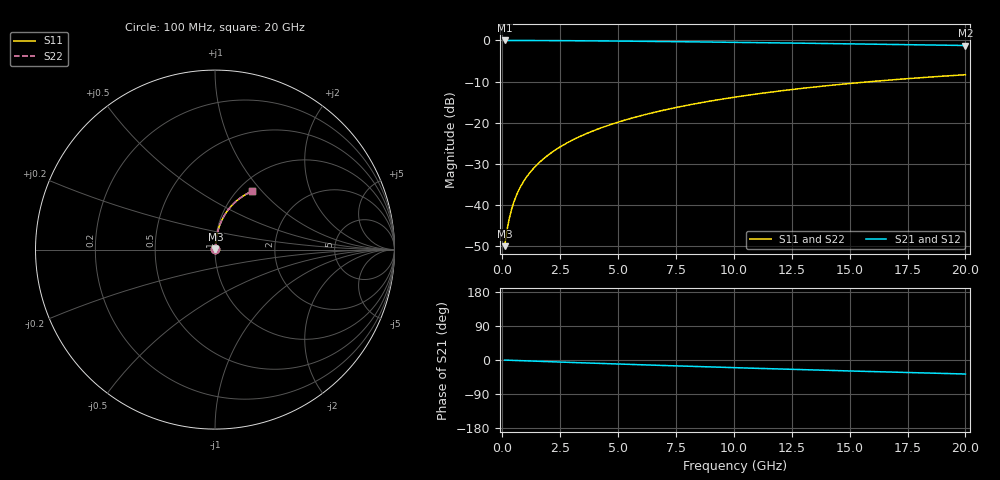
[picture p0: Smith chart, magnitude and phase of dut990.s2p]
! Touchstone file exported from HFSS 2024.1.0
!  File:  C:/UserFiles/LocalFiles/RDL_TSV_Batchsim/temp_RDL_bottom_990_1779943868.aedt
!  Generated:  12:53:33 PM May 28, 2026
!  Design:  RDL_bottom
!  Project:  temp_RDL_bottom_990_1779943868
!  Setup:  Setup1
!  Solution:  Sweep
! Variables:
!  dtsv = 10.80580581um
!  hbump = 3um
!  htsv = 54.17um
!  ldown = 512.06um
!  lrdl = 100um
!  p = 40
!  p1 = 47.71um
!  rhole = 1um
!  t = 450um
!  tdown = 4.96um
!  trdl = 3.915915916um
!  wdown = 16.3um
!  wrdl = 20um
# GHz S MA R 50.000000
! Terminal data exported
! Port[1] = RDL1_T1
! Port[2] = RDL1_T2
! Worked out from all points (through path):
!   200 points, 100 MHz to 20 GHz, reference 50 ohm
!   highest |S21| = -0.02 dB at 100 MHz (marker M1); lowest = -1.2 dB at 20 GHz (marker M2)
!   group delay of S21, straight-line fit = 5.11 ps
!   lowest |S11| = -49.9 dB at 100 MHz (marker M3), VSWR 1.01, Z = 50.2 + j0.216 ohm
!   |S11| at or under -10 dB: start of sweep to 15.92 GHz
!   |S22| runs from -49.9 to -8.3 dB; largest |S21 - S12| = 2.6e-15
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0.1  0.003188 42.4  0.9976 -0.2  0.9976 -0.2  0.003188 42.4
! Gamma 0 0 0 0
! Port Impedance 50 0 50 0
0.2  0.00492 60.7  0.9975 -0.5  0.9975 -0.5  0.00492 60.7
0.3  0.00688 68.7  0.9974 -0.7  0.9974 -0.7  0.00688 68.7
0.4  0.008902 73.0  0.9973 -0.9  0.9973 -0.9  0.008903 73.0
0.5  0.01094 75.5  0.9971 -1.1  0.9971 -1.1  0.01094 75.5
0.7  0.01499 78.4  0.9969 -1.5  0.9969 -1.5  0.015 78.4
0.8  0.01701 79.3  0.9967 -1.8  0.9967 -1.8  0.01701 79.3
1  0.02102 80.5  0.9964 -2.2  0.9964 -2.2  0.02102 80.5
1.2  0.02502 81.4  0.9961 -2.6  0.9961 -2.6  0.02502 81.4
1.4  0.02901 81.9  0.9956 -3.1  0.9956 -3.1  0.02901 81.9
1.7  0.035 82.5  0.9949 -3.7  0.9949 -3.7  0.035 82.5
2  0.04101 82.8  0.9941 -4.4  0.9941 -4.4  0.04101 82.8
2.7  0.05507 83.0  0.9918 -5.8  0.9918 -5.8  0.05507 83.0
3.5  0.07125 82.7  0.9884 -7.5  0.9884 -7.5  0.07124 82.7
4.2  0.08548 82.2  0.985 -9.0  0.985 -9.0  0.08548 82.1
5  0.1018 81.3  0.9806 -10.6  0.9806 -10.6  0.1018 81.3
6.8  0.1388 79.1  0.9695 -14.2  0.9695 -14.2  0.1388 79.0
8.4  0.1716 76.7  0.9586 -17.2  0.9586 -17.2  0.1716 76.7
10.1  0.2061 74.0  0.9462 -20.4  0.9462 -20.4  0.206 74.0
13.4  0.2704 68.5  0.9207 -26.2  0.9207 -26.2  0.2703 68.5
16.7  0.3297 63.0  0.8939 -31.8  0.8939 -31.8  0.3296 63.0
20  0.3831 57.7  0.8666 -37.0  0.8666 -37.0  0.383 57.7
